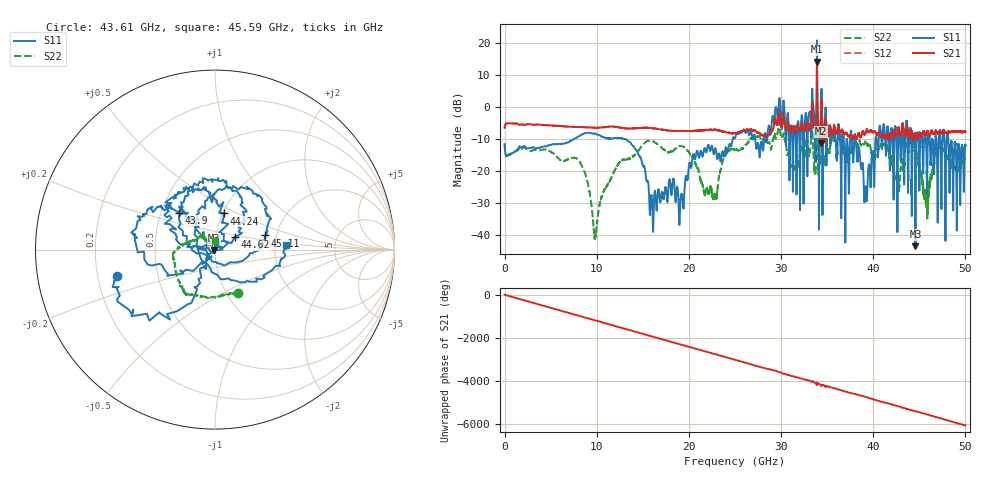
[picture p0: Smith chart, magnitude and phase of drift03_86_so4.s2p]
!Created with skrf (http://scikit-rf.org).
# Hz S RI R 50.0
!freq ReS11 ImS11 ReS21 ImS21 ReS12 ImS12 ReS22 ImS22
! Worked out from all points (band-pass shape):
!   10001 points, 300 kHz to 50 GHz, reference 50 ohm
!   highest |S21| = 14.28 dB at 33.9 GHz (marker M1); lowest = -11.3 dB at 34.32 GHz (marker M2)
!   |S21| within 3 dB of the highest: 33.89061 GHz to 33.90344 GHz (12.83 MHz wide, 0.0379 % of centre)
!   lowest |S11| = -43.6 dB at 44.58 GHz (marker M3), VSWR 1.01, Z = 49.5 - j0.408 ohm
!   |S11| at or under -10 dB: start of sweep to 7.489 GHz; 13.13 GHz to 24.74 GHz (11.62 GHz wide, 61.3 % of centre); 38.09 GHz to 40.25 GHz (2.155 GHz wide, 5.5 % of centre) (the widest 3 of 49)
!   |S22| runs from -41.4 to 6.7 dB; largest |S21 - S12| = 0.38
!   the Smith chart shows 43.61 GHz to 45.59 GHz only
!   S11 on the Smith chart (normalised r, x): 43.61 GHz: 0.28, -0.12; 43.9 GHz: 0.62, +0.28; 44.24 GHz: 1.02, +0.43; 44.62 GHz: 1.23, +0.17; 45.11 GHz: 1.75, +0.30; 45.59 GHz: 2.29, +0.14
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300000  -0.2343 -0.1202  0.466 0.0807  0.465 0.0798  -0.2349 -0.1268
1.440291e9  0.2102 0.0648  -0.5482 -0.0297  -0.5481 -0.0297  0.2117 -0.00364
2.915283e9  -0.2123 -0.0882  0.5347 0.0521  0.535 0.0522  -0.2019 0.0398
8.33525e9  0.2895 -0.2326  0.1448 0.4666  0.1446 0.4672  -0.0723 -0.1021
9.840241e9  -0.3652 0.1247  -0.1418 -0.4545  -0.1419 -0.4547  0.00908 0.00209
1.66702e10  0.0268 0.0432  -0.3802 0.2524  -0.3808 0.2513  -0.1286 -0.2216
2.500015e10  -0.3259 -0.0161  -0.2523 -0.2994  -0.252 -0.3015  -0.2134 0.0271
2.895513e10  -0.3259 0.4297  -0.2906 0.3231  -0.3019 0.2874  0.0626 0.2223
3.006512e10  0.4019 0.2691  0.4533 -0.1925  0.4572 -0.1777  0.18 -0.2951
3.171011e10  -0.0921 0.1869  -0.3649 0.3535  -0.3638 0.3515  0.0639 0.1572
3.33351e10  0.6428 -0.81  0.2667 -0.8464  0.2722 -0.8256  -0.1788 -0.4351
3.38951e10  -2.607 -10.83  -5.107 0.8397  -4.785 1.045  0.5244 2.105
3.432009e10  -0.7766 -0.00343  -0.1843 0.2  -0.2453 0.179  0.1454 -0.0744
4.167005e10  -0.2071 0.2984  0.3168 0.00521  0.3172 0.0115  -0.1966 -0.00667
4.360504e10  -0.5485 -0.1481  -0.1582 0.4315  -0.1575 0.4227  0.1263 -0.2397
4.389504e10  -0.2024 0.2064  0.0313 0.3372  0.0293 0.3313  -0.0487 -0.2648
4.424003e10  0.0523 0.2014  0.2197 0.2645  0.2153 0.2647  -0.1978 -0.1824
4.458003e10  -0.00519 -0.00412  0.3811 0.0561  0.3815 0.0585  -0.2348 -0.0183
4.461503e10  0.1093 0.0694  0.3649 0.0506  0.3646 0.0484  -0.2248 -0.0116
4.510503e10  0.2807 0.0789  0.2632 -0.2607  0.2654 -0.259  -0.0686 0.0703
4.558503e10  0.3939 0.025  -0.0871 -0.3659  -0.0834 -0.3687  0.00118 0.0473
5e10  -0.1193 -0.2253  0.1404 0.3895  0.1361 0.3863  -0.0514 -0.1472
